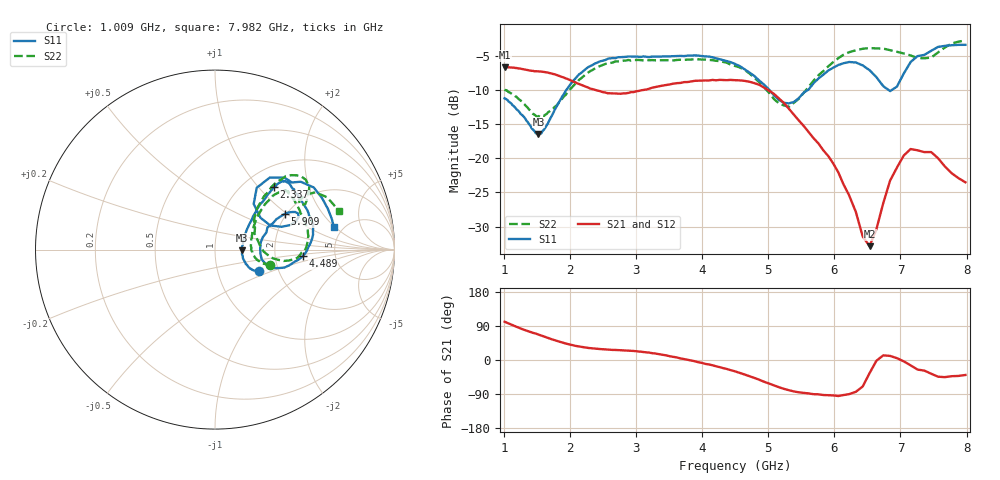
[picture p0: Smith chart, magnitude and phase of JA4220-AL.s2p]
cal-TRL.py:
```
#!/usr/bin/python3
# Vector Network Analyzer Library
# Copyright © 2020-2023 D Scott Guthridge <scott_guthridge@rompromity.net>
# This program is free software: you can redistribute it and/or modify
# it under the terms of the GNU General Public License as published
# by the Free Software Foundation, either version 3 of the License, or
# (at your option) any later version.
# This program is distributed in the hope that it will be useful,
# but WITHOUT ANY WARRANTY; without even the implied warranty of
# MERCHANTABILITY or FITNESS FOR A PARTICULAR PURPOSE.  See the GNU
# General Public License for more details.
# You should have received a copy of the GNU General Public License
# along with this program.  If not, see <http://www.gnu.org/licenses/>.
"""
Example of "through", "reflect", "line" (TRL) calibration in 10-term T
and E parameters, where the reflection parameter and line parameter are
only partially known.
"""

import sim_VNA as sim
import cmath as c
from math import sqrt
import numpy as np
from libvna.cal import Calset, CalType, Parameter, Solver
from libvna.data import NPData, PType

# Misc constants:
C = 2.9979246e+08                       # speed of light in vacuum (m/s)
Z0 = 50.0                               # reference impedance (ohms)

# Calibration frequency range and number of points
C_FMIN = 1.0e+9
C_FMAX = 8.0e+9
C_FREQUENCIES = 50

# Actual DUT parameter file
ACTUAL_FILE = "JA4220-AL.s2p"

# Calculate length of the line standard in meters:
FC = ((C_FMIN + C_FMAX) / 2.0)          # center frequency
ER_EFF = 8.25                           # effective permittivity of line
VF = (1.0 / sqrt(ER_EFF))               # velocity factor
LINE_LENGTH = (0.25 * C / FC * VF)      # line length in meters


def ideal_gamma(f):
    """
    Return the propagation constant for the ideal line.
    """
    return 2.0j * np.pi * f / (C * VF)


def make_calibration():
    """
    Solve for VNA error terms based on measurements of calibration
    standards and save the calibration to a file.
    """
    # Create the simulated VNA
    vna = sim.VNA(C_FMIN, C_FMAX, C_FREQUENCIES)

    # Create a new container to hold the calibration.
    calset = Calset.create()

    # Make the through measurement.  With the returned frequency vector,
    # create the error term solver, then add the measurement.
    (f_vector, a, b) = vna.measure(sim.Measurement.THROUGH)
    solver = calset.make_solver(CalType.TE10, f_vector, 2, 2)
    solver.add_through(a, b, 1, 2)

    # Create the unknown reflect parameter with initial value -1 (short).
    unknown_reflect = calset.make_unknown(-1)

    # Make the reflect measurement.
    (_, a, b) = vna.measure(sim.Measurement.IMPERFECT_REFLECT)
    solver.add_double_reflect(a, b, unknown_reflect, unknown_reflect, 1, 2)

    # Find the ideal transmission coefficients of the line and form them
    # into a vector parameter.  Make the unknown line parameter using
    # the ideal as initial value.
    l_ideal = np.empty((C_FREQUENCIES,), dtype=np.complex128)
    for findex, f in enumerate(f_vector):
        gl = ideal_gamma(f) * LINE_LENGTH
        l_ideal[findex] = c.exp(-gl)
    unknown_line = calset.make_unknown((f_vector, l_ideal))

    # Make the line measurement and add.
    (_, a, b) = vna.measure(sim.Measurement.IMPERFECT_LINE)
    s = [[0.0, unknown_line], [unknown_line, 0.0]]
    solver.add_line(a, b, s, 1, 2)

    # Solve for the error terms.  Add them back to the Calset and save
    # the calibration to a file.
    solver.solve()
    calset.add(solver, "TE10")
    calset.save("TRL.vnacal")

    # Plot the solved unknown parameters.
    sim.plot_RL((C_FMIN, C_FMAX), f_vector, unknown_reflect, l_ideal,
                unknown_line)


def apply_calibration():
    """
    Apply the calibration we made above to measured data to find the
    true S parameters of the device under test.
    """
    # Set up the simulated VNA with the device under test
    vna = sim.VNA(dut_file="JA4220-AL.s2p")

    # Load the calibration set and find the calibration named "TE10"
    calset = Calset.load("TRL.vnacal")
    calibration = calset.calibrations["TE10"]

    # Measure the device under test (DUT) with the flawed VNA
    (f_vector, a, b) = vna.measure(sim.Measurement.DUT)

    # Apply the calibration correction
    result = calibration.apply(f_vector, a, b)

    # Plot results
    sim.plot_correction((1.0e+9, 8.0e+9), f_vector, np.swapaxes(b, 0, 2),
                        vna.dut.data_array, result.data_array)


make_calibration()
apply_calibration()
```
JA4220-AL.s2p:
! S-parameters of pins 1 and 3 of a Coilcraft JA4220-AL wideband RF
! transformer from 1GHz to 8GHz with pins 2 and 4 terminated with 50
! ohm loads to ground.
# Hz S RI R 50.0000
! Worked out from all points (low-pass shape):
!   147 points, 1.009 GHz to 7.982 GHz, reference 50 ohm
!   highest |S21| = -6.70 dB at 1.009 GHz (marker M1); lowest = -32.8 dB at 6.532 GHz (marker M2)
!   |S21| within 3 dB of the highest: start of sweep to 2.278 GHz; 3.242 GHz to 4.939 GHz (1.697 GHz wide, 41.5 % of centre)
!   lowest |S11| = -16.5 dB at 1.522 GHz (marker M3), VSWR 1.35, Z = 67.7 - j0.672 ohm
!   |S11| at or under -10 dB: start of sweep to 1.945 GHz; 5.014 GHz to 5.604 GHz (590.1 MHz wide, 11.1 % of centre); 6.815 GHz to 6.873 GHz (57.92 MHz wide, 0.846 % of centre)
!   |S22| runs from -13.9 to -2.8 dB; largest |S21 - S12| = 0.0058
!   S11 on the Smith chart (normalised r, x): 1.009 GHz: 1.59, -0.40; 2.337 GHz: 1.35, +1.22; 4.489 GHz: 2.89, -0.28; 5.909 GHz: 1.96, +0.97; 7.982 GHz: 4.19, +1.93
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1.009274e9  0.2473 -0.1173  -0.0884 0.454  -0.0868 0.454  0.3061 -0.0845
1.522037e9  0.1502 -0.00486  0.1671 0.3972  0.1685 0.3964  0.203 0.0109
2.337209e9  0.3293 0.3482  0.2759 0.1624  0.2733 0.163  0.3226 0.3001
4.488892e9  0.4889 -0.0371  0.3234 -0.1833  0.3263 -0.1849  0.4719 -0.0321
4.56364e9  0.4688 -0.0538  0.3082 -0.2057  0.3098 -0.2063  0.4589 -0.0459
5.311123e9  0.2516 0.00362  0.041 -0.2261  0.0405 -0.2266  0.2202 0.0889
5.90911e9  0.3898 0.1992  -0.00548 -0.1033  -0.00617 -0.1018  0.3147 0.3489
6.531769e9  0.4178 0.1362  0.0187 -0.013  0.0191 -0.0124  0.5051 0.3901
6.842542e9  0.2534 0.1773  0.0674 0.0129  0.0683 0.012  0.523 0.3244
7.153316e9  0.3055 0.4015  0.1132 -0.0285  0.1148 -0.0281  0.5032 0.2533
7.982044e9  0.6616 0.1257  0.0514 -0.0425  0.0521 -0.0428  0.6927 0.2138
